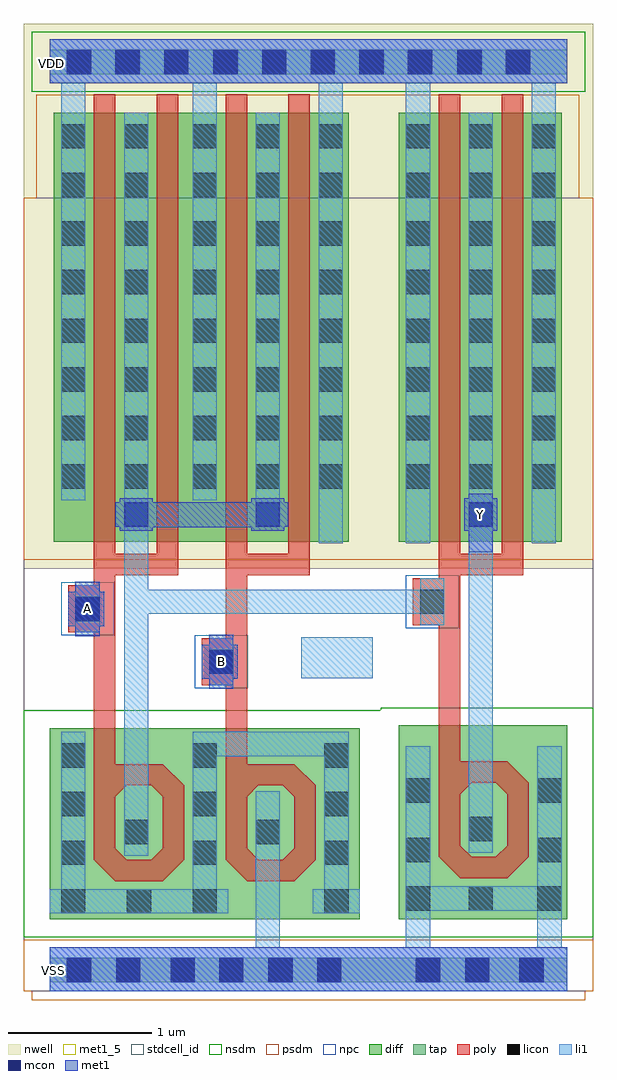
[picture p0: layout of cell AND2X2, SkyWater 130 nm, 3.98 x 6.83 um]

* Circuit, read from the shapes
.subckt AND2X2 A B VDD VSS Y
XM1 n1 A n2 VSS sky130_fd_pr__nfet_01v8 w=2.475 l=0.1454
XM2 n1 B VSS VSS sky130_fd_pr__nfet_01v8 w=2.475 l=0.1443
XM3 VSS n2 Y VSS sky130_fd_pr__nfet_01v8 w=2.475 l=0.1462
XM4 n2 A VDD VDD sky130_fd_pr__pfet_01v8 w=3 l=0.15 m=2
XM5 n2 B VDD VDD sky130_fd_pr__pfet_01v8 w=3 l=0.15 m=2
XM6 Y n2 VDD VDD sky130_fd_pr__pfet_01v8 w=3 l=0.15 m=2
.ends

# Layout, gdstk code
import gdstk
lib = gdstk.Library(unit=1e-6, precision=1e-09)
def R(c, l, rs):  # rectangles x0, y0, x1, y1
    for r in rs: c.add(gdstk.rectangle(r[:2], r[2:], *l))
def A(c, l, x, y, w, h, nx, ny, dx, dy):  # array of equal rectangles
    R(c, l, [(x+i*dx, y+j*dy, x+i*dx+w, y+j*dy+h) for i in range(nx) for j in range(ny)])
def P(c, l, *ps):  # polygons
    for p in ps: c.add(gdstk.Polygon(p, *l))
nwell = (64, 20)
diff = (65, 20)
tap = (65, 44)
poly = (66, 20)
licon = (66, 44)
li1 = (67, 20)
mcon = (67, 44)
met1_5 = (68, 5)
met1 = (68, 20)
stdcell_id = (81, 4)
nsdm = (93, 44)
psdm = (94, 20)
npc = (95, 20)

and2x2 = lib.new_cell('AND2X2')
R(and2x2, nwell, [(0,2.955,3.98,6.765)])
R(and2x2, diff, [(0.18,0.505,2.35,1.84), (2.62,0.505,3.8,1.86), (0.21,3.145,2.27,6.145), (2.62,3.145,3.76,6.145)])
R(and2x2, tap, [(0.18,0.065,3.8,0.235), (0.18,6.415,3.8,6.585)])
R(and2x2, poly, [(0.64,0.77,0.97,0.92), (1.56,0.77,1.89,0.92), (3.05,0.79,3.38,0.94), (0.49,0.92,0.64,1.44), (0.97,0.92,1.12,1.44), (1.41,0.92,1.56,1.44), (1.89,0.92,2.04,1.44), (2.9,0.94,3.05,1.46), (3.38,0.94,3.53,1.46), (0.49,1.44,0.97,1.59), (1.41,1.44,1.89,1.59), (2.9,1.46,3.38,1.61), (0.49,1.59,0.64,2.51), (1.41,1.59,1.56,2.14), (2.9,1.61,3.05,2.56), (1.245,2.14,1.56,2.47), (1.41,2.47,1.56,2.91), (0.31,2.51,0.64,2.84), (2.72,2.56,3.05,2.89), (0.49,2.84,0.64,2.91), (2.9,2.89,3.05,2.91), (0.49,2.91,1.08,3.06), (1.41,2.91,2,3.06), (2.9,2.91,3.49,3.06), (0.49,3.06,0.64,6.275), (0.93,3.06,1.08,6.275), (1.41,3.06,1.56,6.275), (1.85,3.06,2,6.275), (2.9,3.06,3.05,6.275), (3.34,3.06,3.49,6.275)])
P(and2x2, poly, [(0.97,1.59),(0.97,1.44),(1.12,1.44)],
  [(0.64,1.36),(0.64,1.44),(0.72,1.44)],
  [(0.89,1.44),(0.97,1.44),(0.97,1.36)],
  [(0.64,1),(0.64,0.92),(0.72,0.92)],
  [(0.89,0.92),(0.97,0.92),(0.97,1)],
  [(0.49,0.92),(0.64,0.92),(0.64,0.77)],
  [(0.97,0.77),(0.97,0.92),(1.12,0.92)],
  [(1.89,1.59),(1.89,1.44),(2.04,1.44)],
  [(1.56,1.36),(1.56,1.44),(1.64,1.44)],
  [(1.81,1.44),(1.89,1.44),(1.89,1.36)],
  [(1.56,1),(1.56,0.92),(1.64,0.92)],
  [(1.81,0.92),(1.89,0.92),(1.89,1)],
  [(1.41,0.92),(1.56,0.92),(1.56,0.77)],
  [(1.89,0.77),(1.89,0.92),(2.04,0.92)],
  [(3.38,1.61),(3.38,1.46),(3.53,1.46)],
  [(3.05,1.38),(3.05,1.46),(3.13,1.46)],
  [(3.3,1.46),(3.38,1.46),(3.38,1.38)],
  [(3.05,1.02),(3.05,0.94),(3.13,0.94)],
  [(3.3,0.94),(3.38,0.94),(3.38,1.02)],
  [(2.9,0.94),(3.05,0.94),(3.05,0.79)],
  [(3.38,0.79),(3.38,0.94),(3.53,0.94)])
A(and2x2, licon, 0.26, 0.545, 0.17, 0.17, 3, 1, 0.46, 0)
A(and2x2, licon, 0.26, 0.885, 0.17, 0.17, 3, 3, 0.92, 0.34)
A(and2x2, licon, 0.26, 3.515, 0.17, 0.17, 1, 8, 0, 0.34)
A(and2x2, licon, 0.7, 3.515, 0.17, 0.17, 1, 8, 0, 0.34)
A(and2x2, licon, 1.18, 3.515, 0.17, 0.17, 3, 8, 0.44, 0.34)
A(and2x2, licon, 2.67, 3.515, 0.17, 0.17, 3, 8, 0.44, 0.34)
A(and2x2, licon, 0.3, 6.415, 0.17, 0.17, 3, 1, 0.34, 0)
A(and2x2, licon, 1.325, 6.415, 0.17, 0.17, 5, 1, 0.34, 0)
R(and2x2, licon, [(0.3,0.065,0.47,0.235), (0.645,0.065,0.815,0.235), (1.025,0.065,1.195,0.235), (1.365,0.065,1.535,0.235), (1.71,0.065,1.88,0.235), (2.05,0.065,2.22,0.235), (2.74,0.065,2.91,0.235), (3.085,0.065,3.255,0.235), (3.465,0.065,3.635,0.235), (2.1,0.545,2.27,0.715), (2.67,0.565,2.84,0.735), (3.11,0.565,3.28,0.735), (3.59,0.565,3.76,0.735), (2.67,0.905,2.84,1.075), (3.59,0.905,3.76,1.075), (0.7,1.03,0.87,1.2), (1.62,1.03,1.79,1.2), (3.11,1.05,3.28,1.22), (2.67,1.32,2.84,1.49), (3.59,1.32,3.76,1.49), (1.295,2.22,1.465,2.39), (0.36,2.59,0.53,2.76), (2.77,2.64,2.94,2.81), (3.03,6.415,3.2,6.585), (3.37,6.415,3.54,6.585)])
R(and2x2, li1, [(0.18,0,3.8,0.31), (1.62,0.31,1.79,1.4), (2.67,0.31,2.84,0.565), (3.59,0.31,3.76,0.565), (0.18,0.545,1.43,0.715), (2.02,0.545,2.35,0.715), (2.67,0.565,3.76,0.735), (0.26,0.715,0.43,1.815), (1.18,0.715,1.35,1.645), (2.1,0.715,2.27,1.645), (2.67,0.735,2.84,1.715), (3.59,0.735,3.76,1.715), (0.7,0.95,0.87,2.64), (3.11,0.97,3.28,6.145), (1.18,1.645,2.27,1.815), (1.295,2.14,1.465,2.47), (1.94,2.19,2.44,2.475), (0.36,2.51,0.53,2.84), (2.77,2.56,2.94,2.64), (0.7,2.64,2.94,2.81), (0.7,2.81,0.87,6.145), (2.77,2.81,2.94,2.89), (2.06,3.135,2.23,6.35), (2.67,3.135,2.84,6.35), (3.55,3.135,3.72,6.35), (1.62,3.25,1.79,6.145), (0.26,3.435,0.43,6.35), (1.18,3.435,1.35,6.35), (0.18,6.35,3.8,6.66)])
A(and2x2, mcon, 0.3, 6.415, 0.17, 0.17, 3, 1, 0.34, 0)
A(and2x2, mcon, 1.325, 6.415, 0.17, 0.17, 5, 1, 0.34, 0)
R(and2x2, mcon, [(0.3,0.065,0.47,0.235), (0.645,0.065,0.815,0.235), (1.025,0.065,1.195,0.235), (1.365,0.065,1.535,0.235), (1.71,0.065,1.88,0.235), (2.05,0.065,2.22,0.235), (2.74,0.065,2.91,0.235), (3.085,0.065,3.255,0.235), (3.465,0.065,3.635,0.235), (1.295,2.22,1.465,2.39), (0.36,2.59,0.53,2.76), (0.7,3.25,0.87,3.42), (1.62,3.25,1.79,3.42), (3.11,3.25,3.28,3.42), (3.03,6.415,3.2,6.585), (3.37,6.415,3.54,6.585)])
R(and2x2, met1_5, [(1.295,2.22,1.465,2.39), (0.36,2.59,0.53,2.76), (3.11,3.25,3.28,3.42)])
R(and2x2, met1, [(0.18,0,3.8,0.31), (1.295,2.115,1.465,2.185), (1.245,2.185,1.495,2.425), (1.295,2.425,1.465,2.495), (0.36,2.485,0.53,2.555), (0.31,2.555,0.56,2.795), (0.36,2.795,0.53,2.865), (3.11,3.07,3.28,3.22), (0.67,3.22,0.9,3.245), (1.59,3.22,1.82,3.245), (3.08,3.22,3.31,3.45), (0.67,3.245,1.82,3.25), (0.64,3.25,1.85,3.42), (0.67,3.42,0.9,3.45), (1.59,3.42,1.82,3.45), (3.11,3.45,3.28,3.48), (0.18,6.35,3.8,6.66)])
R(and2x2, stdcell_id, [(0,0,3.98,5.55)])
R(and2x2, nsdm, [(0,0.38,3.98,1.965), (2.495,1.965,3.98,1.985), (0.055,6.29,3.925,6.71)])
R(and2x2, psdm, [(0.055,-0.06,3.925,0), (0,0,3.98,0.36), (0,3.02,3.98,5.55), (0.085,5.55,3.885,6.27)])
R(and2x2, npc, [(1.195,2.12,1.565,2.49), (0.26,2.49,0.63,2.86), (2.67,2.54,3.04,2.91)])
and2x2.add(gdstk.Label('A', (0.445,2.675), layer=68, texttype=5))
and2x2.add(gdstk.Label('B', (1.38,2.305), layer=68, texttype=5))
and2x2.add(gdstk.Label('Y', (3.195,3.335), layer=68, texttype=5))
and2x2.add(gdstk.Label('VSS', (0.21,0.145), layer=68, texttype=5))
and2x2.add(gdstk.Label('VDD', (0.195,6.49), layer=68, texttype=5))

lib.write_gds('AND2X2.gds')
